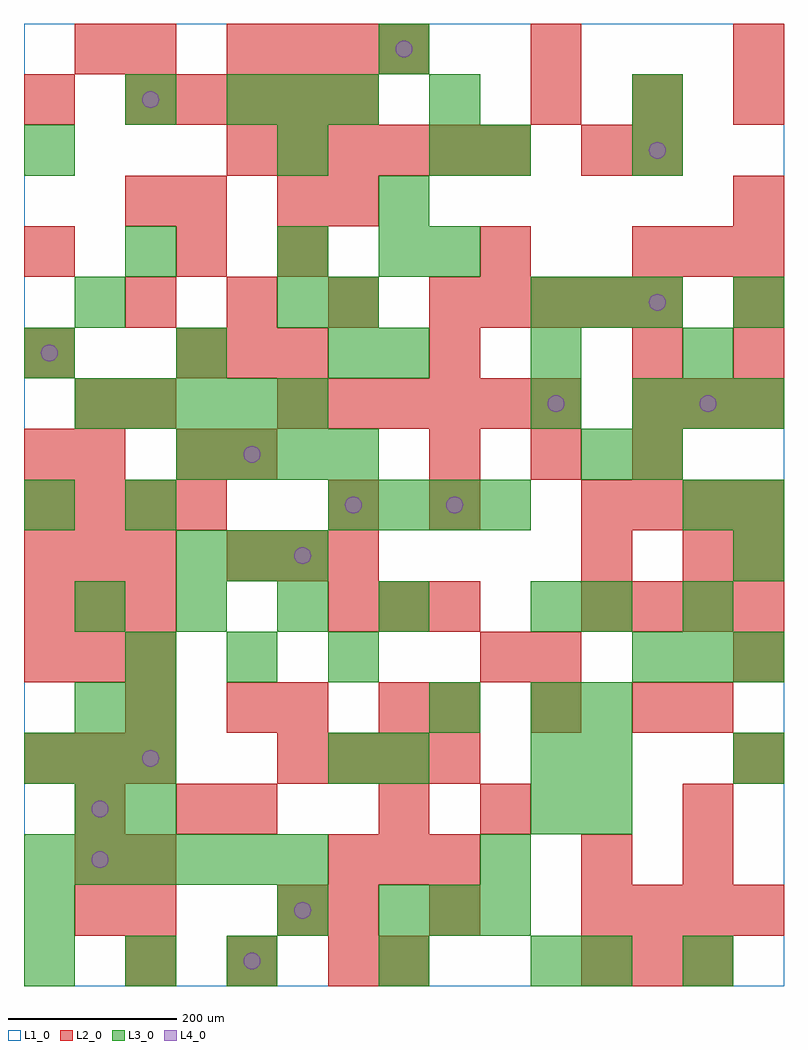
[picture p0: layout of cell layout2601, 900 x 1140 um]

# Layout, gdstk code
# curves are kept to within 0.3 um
import gdstk
lib = gdstk.Library(unit=1e-6, precision=1e-09)
def R(c, l, rs):  # rectangles x0, y0, x1, y1
    for r in rs: c.add(gdstk.rectangle(r[:2], r[2:], *l))
def A(c, l, x, y, w, h, nx, ny, dx, dy):  # array of equal rectangles
    R(c, l, [(x+i*dx, y+j*dy, x+i*dx+w, y+j*dy+h) for i in range(nx) for j in range(ny)])
def P(c, l, *ps):  # polygons
    for p in ps: c.add(gdstk.Polygon(p, *l))
L1_0 = (1, 0)
L2_0 = (2, 0)
L3_0 = (3, 0)
L4_0 = (4, 0)

layout2601 = lib.new_cell('layout2601')
R(layout2601, L1_0, [(0,0,900,1140)])
A(layout2601, L2_0, 120, 0, 60, 60, 3, 1, 120, 0)
A(layout2601, L2_0, 660, 0, 60, 60, 3, 1, 60, 0)
A(layout2601, L2_0, 60, 60, 60, 60, 1, 3, 0, 60)
A(layout2601, L2_0, 660, 60, 60, 60, 4, 2, 60, 360)
A(layout2601, L2_0, 360, 120, 60, 60, 3, 2, 60, 300)
A(layout2601, L2_0, 0, 240, 60, 60, 3, 2, 60, 120)
A(layout2601, L2_0, 300, 240, 60, 60, 4, 1, 60, 0)
A(layout2601, L2_0, 840, 240, 60, 60, 1, 3, 0, 120)
A(layout2601, L2_0, 480, 300, 60, 60, 3, 2, 120, 300)
A(layout2601, L2_0, 0, 420, 60, 60, 3, 2, 60, 60)
A(layout2601, L2_0, 240, 480, 60, 60, 3, 1, 60, 0)
A(layout2601, L2_0, 0, 540, 60, 60, 4, 1, 60, 0)
A(layout2601, L2_0, 660, 540, 60, 60, 4, 1, 60, 0)
A(layout2601, L2_0, 0, 600, 60, 60, 1, 3, 0, 120)
A(layout2601, L2_0, 300, 660, 60, 60, 6, 1, 60, 0)
A(layout2601, L2_0, 720, 660, 60, 60, 3, 2, 60, 180)
A(layout2601, L2_0, 180, 720, 60, 60, 3, 1, 60, 0)
A(layout2601, L2_0, 120, 780, 60, 60, 4, 1, 120, 0)
A(layout2601, L2_0, 540, 780, 60, 60, 4, 1, 60, 0)
A(layout2601, L2_0, 240, 960, 60, 60, 6, 1, 60, 0)
A(layout2601, L2_0, 120, 1020, 60, 60, 5, 1, 60, 0)
A(layout2601, L2_0, 600, 1020, 60, 60, 3, 1, 120, 0)
A(layout2601, L2_0, 240, 1080, 60, 60, 4, 1, 60, 0)
R(layout2601, L2_0, [(420,0,480,60), (120,60,180,120), (300,60,360,120), (360,60,420,120), (480,60,540,120), (120,120,180,180), (660,120,720,180), (780,120,840,180), (180,180,240,240), (240,180,300,240), (420,180,480,240), (540,180,600,240), (780,180,840,240), (120,300,180,360), (240,300,300,360), (300,300,360,360), (420,300,480,360), (780,300,840,360), (540,360,600,420), (600,360,660,420), (660,480,720,540), (780,480,840,540), (360,540,420,600), (480,540,540,600), (60,600,120,660), (180,600,240,660), (240,600,300,660), (60,660,120,720), (120,660,180,720), (480,720,540,780), (720,720,780,780), (840,720,900,780), (840,780,900,840), (180,840,240,900), (300,840,360,900), (540,840,600,900), (120,900,180,960), (180,900,240,960), (300,900,360,960), (360,900,420,960), (840,900,900,960), (660,960,720,1020), (720,960,780,1020), (0,1020,60,1080), (60,1080,120,1140), (120,1080,180,1140), (600,1080,660,1140), (840,1080,900,1140)])
A(layout2601, L3_0, 0, 0, 60, 60, 3, 1, 120, 0)
A(layout2601, L3_0, 420, 60, 60, 60, 3, 1, 60, 0)
A(layout2601, L3_0, 0, 120, 60, 60, 6, 1, 60, 0)
A(layout2601, L3_0, 600, 180, 60, 60, 1, 3, 0, 60)
A(layout2601, L3_0, 660, 180, 60, 60, 1, 3, 0, 60)
A(layout2601, L3_0, 0, 240, 60, 60, 3, 1, 60, 0)
A(layout2601, L3_0, 120, 360, 60, 60, 3, 1, 120, 0)
A(layout2601, L3_0, 720, 360, 60, 60, 3, 2, 60, 300)
A(layout2601, L3_0, 60, 420, 60, 60, 4, 1, 120, 0)
A(layout2601, L3_0, 180, 480, 60, 60, 3, 1, 60, 0)
A(layout2601, L3_0, 360, 540, 60, 60, 4, 1, 60, 0)
A(layout2601, L3_0, 180, 600, 60, 60, 4, 1, 60, 0)
A(layout2601, L3_0, 60, 660, 60, 60, 5, 1, 60, 0)
A(layout2601, L3_0, 0, 720, 60, 60, 3, 1, 180, 0)
A(layout2601, L3_0, 420, 720, 60, 60, 3, 1, 180, 0)
A(layout2601, L3_0, 600, 780, 60, 60, 3, 1, 60, 0)
A(layout2601, L3_0, 240, 1020, 60, 60, 3, 1, 60, 0)
R(layout2601, L3_0, [(420,0,480,60), (600,0,660,60), (660,0,720,60), (780,0,840,60), (0,60,60,120), (300,60,360,120), (540,120,600,180), (60,180,120,240), (120,180,180,240), (360,240,420,300), (420,240,480,300), (840,240,900,300), (60,300,120,360), (120,300,180,360), (480,300,540,360), (600,420,660,480), (660,420,720,480), (780,420,840,480), (840,480,900,540), (0,540,60,600), (120,540,180,600), (780,540,840,600), (840,540,900,600), (660,600,720,660), (720,600,780,660), (600,660,660,720), (60,780,120,840), (300,780,360,840), (360,780,420,840), (840,780,900,840), (120,840,180,900), (300,840,360,900), (420,840,480,900), (480,840,540,900), (420,900,480,960), (0,960,60,1020), (300,960,360,1020), (480,960,540,1020), (540,960,600,1020), (720,960,780,1020), (120,1020,180,1080), (480,1020,540,1080), (720,1020,780,1080), (420,1080,480,1140)])
P(layout2601, L4_0, [(40,750),(39.239,753.827),(37.071,757.071),(33.827,759.239),(30,760),(26.173,759.239),(22.929,757.071),(20.761,753.827),(20,750),(20.761,746.173),(22.929,742.929),(26.173,740.761),(30,740),(33.827,740.761),(37.071,742.929),(39.239,746.173)],
  [(100,150),(99.239,153.827),(97.071,157.071),(93.827,159.239),(90,160),(86.173,159.239),(82.929,157.071),(80.761,153.827),(80,150),(80.761,146.173),(82.929,142.929),(86.173,140.761),(90,140),(93.827,140.761),(97.071,142.929),(99.239,146.173)],
  [(100,210),(99.239,213.827),(97.071,217.071),(93.827,219.239),(90,220),(86.173,219.239),(82.929,217.071),(80.761,213.827),(80,210),(80.761,206.173),(82.929,202.929),(86.173,200.761),(90,200),(93.827,200.761),(97.071,202.929),(99.239,206.173)],
  [(160,270),(159.239,273.827),(157.071,277.071),(153.827,279.239),(150,280),(146.173,279.239),(142.929,277.071),(140.761,273.827),(140,270),(140.761,266.173),(142.929,262.929),(146.173,260.761),(150,260),(153.827,260.761),(157.071,262.929),(159.239,266.173)],
  [(160,1050),(159.239,1053.827),(157.071,1057.071),(153.827,1059.239),(150,1060),(146.173,1059.239),(142.929,1057.071),(140.761,1053.827),(140,1050),(140.761,1046.173),(142.929,1042.929),(146.173,1040.761),(150,1040),(153.827,1040.761),(157.071,1042.929),(159.239,1046.173)],
  [(280,30),(279.239,33.827),(277.071,37.071),(273.827,39.239),(270,40),(266.173,39.239),(262.929,37.071),(260.761,33.827),(260,30),(260.761,26.173),(262.929,22.929),(266.173,20.761),(270,20),(273.827,20.761),(277.071,22.929),(279.239,26.173)],
  [(280,630),(279.239,633.827),(277.071,637.071),(273.827,639.239),(270,640),(266.173,639.239),(262.929,637.071),(260.761,633.827),(260,630),(260.761,626.173),(262.929,622.929),(266.173,620.761),(270,620),(273.827,620.761),(277.071,622.929),(279.239,626.173)],
  [(340,90),(339.239,93.827),(337.071,97.071),(333.827,99.239),(330,100),(326.173,99.239),(322.929,97.071),(320.761,93.827),(320,90),(320.761,86.173),(322.929,82.929),(326.173,80.761),(330,80),(333.827,80.761),(337.071,82.929),(339.239,86.173)],
  [(340,510),(339.239,513.827),(337.071,517.071),(333.827,519.239),(330,520),(326.173,519.239),(322.929,517.071),(320.761,513.827),(320,510),(320.761,506.173),(322.929,502.929),(326.173,500.761),(330,500),(333.827,500.761),(337.071,502.929),(339.239,506.173)],
  [(400,570),(399.239,573.827),(397.071,577.071),(393.827,579.239),(390,580),(386.173,579.239),(382.929,577.071),(380.761,573.827),(380,570),(380.761,566.173),(382.929,562.929),(386.173,560.761),(390,560),(393.827,560.761),(397.071,562.929),(399.239,566.173)],
  [(460,1110),(459.239,1113.827),(457.071,1117.071),(453.827,1119.239),(450,1120),(446.173,1119.239),(442.929,1117.071),(440.761,1113.827),(440,1110),(440.761,1106.173),(442.929,1102.929),(446.173,1100.761),(450,1100),(453.827,1100.761),(457.071,1102.929),(459.239,1106.173)],
  [(520,570),(519.239,573.827),(517.071,577.071),(513.827,579.239),(510,580),(506.173,579.239),(502.929,577.071),(500.761,573.827),(500,570),(500.761,566.173),(502.929,562.929),(506.173,560.761),(510,560),(513.827,560.761),(517.071,562.929),(519.239,566.173)],
  [(640,690),(639.239,693.827),(637.071,697.071),(633.827,699.239),(630,700),(626.173,699.239),(622.929,697.071),(620.761,693.827),(620,690),(620.761,686.173),(622.929,682.929),(626.173,680.761),(630,680),(633.827,680.761),(637.071,682.929),(639.239,686.173)],
  [(760,810),(759.239,813.827),(757.071,817.071),(753.827,819.239),(750,820),(746.173,819.239),(742.929,817.071),(740.761,813.827),(740,810),(740.761,806.173),(742.929,802.929),(746.173,800.761),(750,800),(753.827,800.761),(757.071,802.929),(759.239,806.173)],
  [(760,990),(759.239,993.827),(757.071,997.071),(753.827,999.239),(750,1000),(746.173,999.239),(742.929,997.071),(740.761,993.827),(740,990),(740.761,986.173),(742.929,982.929),(746.173,980.761),(750,980),(753.827,980.761),(757.071,982.929),(759.239,986.173)],
  [(820,690),(819.239,693.827),(817.071,697.071),(813.827,699.239),(810,700),(806.173,699.239),(802.929,697.071),(800.761,693.827),(800,690),(800.761,686.173),(802.929,682.929),(806.173,680.761),(810,680),(813.827,680.761),(817.071,682.929),(819.239,686.173)])

lib.write_gds('layout2601.gds')
